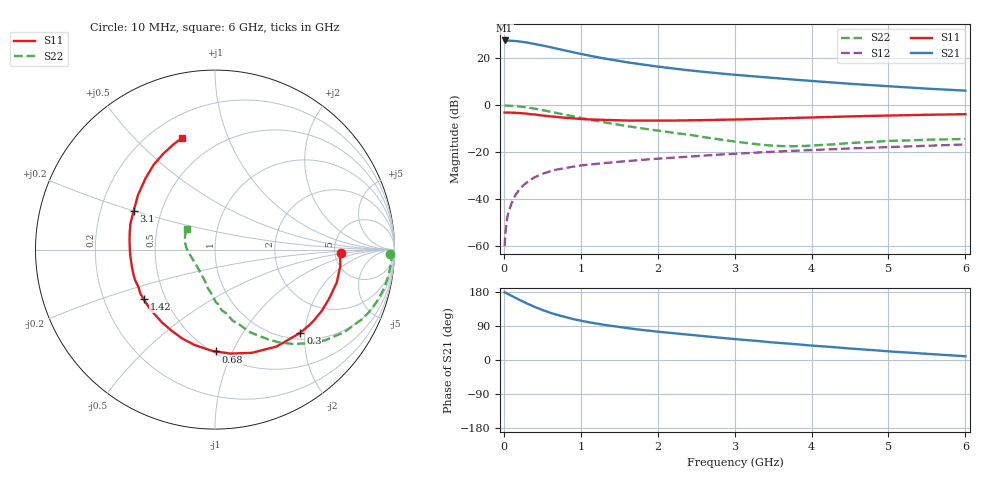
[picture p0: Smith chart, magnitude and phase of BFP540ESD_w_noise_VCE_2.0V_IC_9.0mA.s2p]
! Infineon Technologies  Discrete & RF Semiconductors
! BFP540ESD
! VCE =  2.0 V,  IC =  9.0 mA
! Common Emitter S-Parameters:  Nov 2015
# GHz  S  MA  R  50
!  f  S11  S21  S12  S22
! GHz  MAG  ANG  MAG  ANG  MAG  ANG  MAG  ANG
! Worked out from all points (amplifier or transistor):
!   210 points, 10 MHz to 6 GHz, reference 50 ohm
!   highest |S21| = 27.6 dB at 10 MHz (marker M1)
!   |S21| within 3 dB of that: start of sweep to 621.2 MHz
!   unconditionally stable (mu >= 1): 2.828 GHz to end of sweep
!   at 185 MHz: K = 0.10, MSG = 32.0 dB, |S12| = -36.7 dB
!   at 1.52 GHz: K = 0.69, MSG = 21.4 dB, |S12| = -24.0 dB
!   at 6 GHz: K = 1.17, MAG = 9.0 dB, |S12| = -16.7 dB
!   lowest NFmin = 0.83 dB at 900 MHz
!   S11 on the Smith chart (normalised r, x): 10 MHz: 5.65, -0.38; 300 MHz: 1.14, -1.89; 680 MHz: 0.52, -0.86; 1.42 GHz: 0.38, -0.27; 3.1 GHz: 0.35, +0.20; 6 GHz: 0.32, +0.69
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0.01  0.7003 -1.4  24.1 178.6  0.001 106.0  0.9742 -1.5
0.02  0.6982 -3.4  23.77 178.0  0.0018 98.3  0.9877 -1.7
0.05  0.704 -7.4  23.89 174.6  0.0046 83.6  0.9844 -4.3
0.15  0.6929 -22.7  23.46 164.1  0.0122 78.9  0.9663 -13.0
0.22  0.6808 -32.9  22.73 157.0  0.0173 76.2  0.9411 -19.0
0.3  0.6639 -44.2  21.82 149.2  0.0229 72.6  0.9056 -25.4
0.4  0.6399 -57.5  20.39 140.2  0.0293 66.9  0.8534 -32.7
0.5  0.6106 -70.4  18.95 132.0  0.0347 62.4  0.7938 -39.6
0.6  0.5853 -81.7  17.36 124.8  0.0392 58.2  0.7351 -45.3
0.68  0.5672 -89.6  16.27 120.1  0.0425 56.0  0.6912 -49.4
0.8  0.5433 -102.1  14.68 113.0  0.0463 52.8  0.6273 -55.5
0.9  0.528 -110.3  13.49 108.1  0.0493 50.3  0.5809 -59.4
1.02  0.5093 -119.9  12.26 103.0  0.0527 48.4  0.5304 -63.8
1.2  0.4937 -132.5  10.71 96.2  0.0563 46.0  0.467 -69.6
1.42  0.484 -145.1  9.254 89.4  0.061 44.1  0.4036 -76.4
1.7  0.4768 -159.3  7.821 81.6  0.0667 42.4  0.3415 -83.4
2.02  0.4725 -172.1  6.627 74.3  0.0733 40.5  0.2883 -89.6
2.58  0.4841 169.0  5.199 63.1  0.0844 38.0  0.2123 -102.0
3.1  0.502 154.6  4.338 53.6  0.0947 35.2  0.1614 -116.5
4.1  0.5593 132.6  3.214 36.7  0.1129 28.8  0.1415 -167.2
5.1  0.6115 116.8  2.492 21.6  0.1306 21.8  0.176 163.0
6  0.6477 106.6  2.059 9.9  0.1468 16.5  0.1932 143.0
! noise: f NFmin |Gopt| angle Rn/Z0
0.9  0.83  0.08  -128  0.11
1.8  1.03  0.14  -161  0.1
2.4  1.04  0.14  -156  0.1
3  1.16  0.21  -156  0.1
4  1.29  0.34  -115  0.15
5  1.48  0.45  -92  0.27
6  1.72  0.53  -95  0.5
